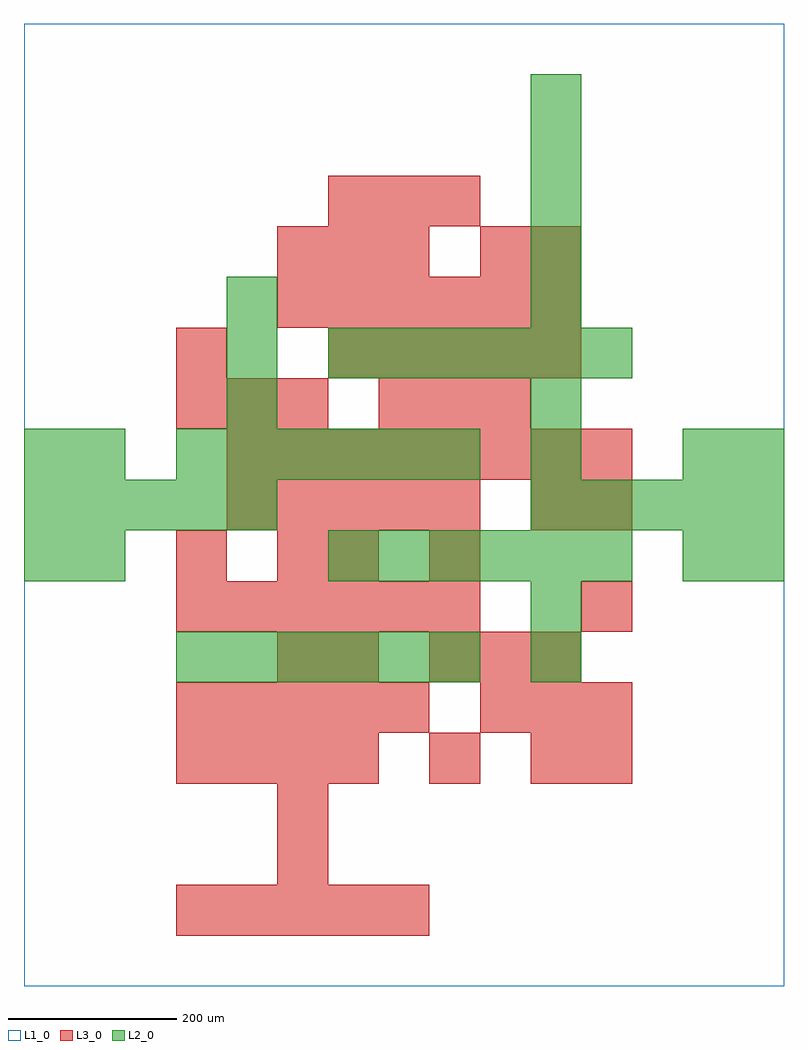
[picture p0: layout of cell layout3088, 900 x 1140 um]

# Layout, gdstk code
import gdstk
lib = gdstk.Library(unit=1e-6, precision=1e-09)
def R(c, l, rs):  # rectangles x0, y0, x1, y1
    for r in rs: c.add(gdstk.rectangle(r[:2], r[2:], *l))
def A(c, l, x, y, w, h, nx, ny, dx, dy):  # array of equal rectangles
    R(c, l, [(x+i*dx, y+j*dy, x+i*dx+w, y+j*dy+h) for i in range(nx) for j in range(ny)])
L1_0 = (1, 0)
L2_0 = (2, 0)
L3_0 = (3, 0)

layout3088 = lib.new_cell('layout3088')
R(layout3088, L1_0, [(0,0,900,1140)])
A(layout3088, L2_0, 180, 360, 60, 60, 6, 2, 60, 240)
A(layout3088, L2_0, 360, 480, 60, 60, 6, 2, 60, 240)
A(layout3088, L2_0, 0, 540, 60, 60, 5, 1, 60, 0)
A(layout3088, L2_0, 600, 540, 60, 60, 5, 1, 60, 0)
A(layout3088, L2_0, 240, 660, 60, 60, 1, 3, 0, 60)
A(layout3088, L2_0, 600, 780, 60, 60, 1, 5, 0, 60)
R(layout3088, L2_0, [(600,360,660,420), (600,420,660,480), (0,480,60,540), (60,480,120,540), (780,480,840,540), (840,480,900,540), (0,600,60,660), (60,600,120,660), (600,600,660,660), (780,600,840,660), (840,600,900,660), (600,660,660,720)])
A(layout3088, L3_0, 180, 60, 60, 60, 5, 2, 60, 240)
A(layout3088, L3_0, 180, 240, 60, 60, 4, 1, 60, 0)
A(layout3088, L3_0, 600, 240, 60, 60, 1, 3, 0, 300)
A(layout3088, L3_0, 540, 300, 60, 60, 3, 1, 60, 0)
A(layout3088, L3_0, 480, 360, 60, 60, 3, 1, 60, 0)
A(layout3088, L3_0, 180, 420, 60, 60, 6, 1, 60, 0)
A(layout3088, L3_0, 240, 540, 60, 60, 5, 1, 60, 0)
A(layout3088, L3_0, 240, 600, 60, 60, 8, 1, 60, 0)
A(layout3088, L3_0, 180, 660, 60, 60, 3, 1, 60, 0)
A(layout3088, L3_0, 420, 660, 60, 60, 3, 1, 60, 0)
A(layout3088, L3_0, 360, 720, 60, 60, 5, 1, 60, 0)
A(layout3088, L3_0, 300, 780, 60, 60, 6, 1, 60, 0)
A(layout3088, L3_0, 300, 840, 60, 60, 3, 1, 60, 0)
A(layout3088, L3_0, 360, 900, 60, 60, 3, 1, 60, 0)
R(layout3088, L3_0, [(300,120,360,180), (300,180,360,240), (480,240,540,300), (660,240,720,300), (300,360,360,420), (360,360,420,420), (660,420,720,480), (180,480,240,540), (300,480,360,540), (360,480,420,540), (480,480,540,540), (660,540,720,600), (180,720,240,780), (540,840,600,900)])

lib.write_gds('layout3088.gds')
